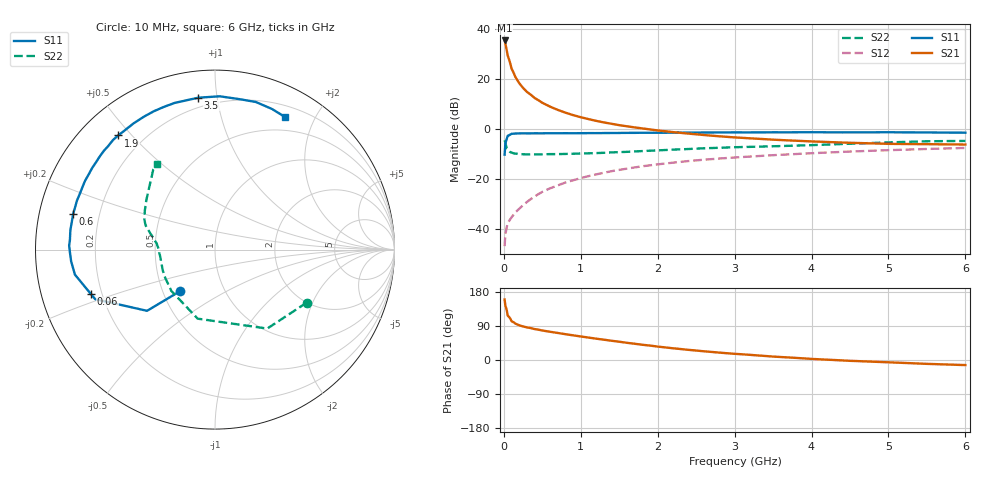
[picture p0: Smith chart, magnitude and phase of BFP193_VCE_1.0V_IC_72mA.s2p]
! Infineon Technologies  Discrete & RF Semiconductors
! BFP193
! VCE =  1.0 V,  IC =  72 mA
! Common Emitter S-Parameters:  Jan 2017
# GHz  S  MA  R  50
!  f  S11  S21  S12  S22
! GHz  MAG  ANG  MAG  ANG  MAG  ANG  MAG  ANG
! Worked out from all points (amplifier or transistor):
!   77 points, 10 MHz to 6 GHz, reference 50 ohm
!   highest |S21| = 35.3 dB at 10 MHz (marker M1)
!   |S21| within 3 dB of that: start of sweep to 31.7 MHz
!   unconditionally stable (mu >= 1): start of sweep to 11.73 MHz; 187.2 MHz to end of sweep
!   at 130 MHz: K = 0.87, MSG = 28.2 dB, |S12| = -34.2 dB
!   at 2.2 GHz: K = 1.08, MAG = 4.3 dB, |S12| = -13.5 dB
!   at 6 GHz: K = 1.06, MAG = -0.8 dB, |S12| = -7.7 dB
!   S11 on the Smith chart (normalised r, x): 10 MHz: 0.61, -0.31; 60 MHz: 0.16, -0.17; 600 MHz: 0.10, +0.12; 1.9 GHz: 0.11, +0.46; 3.5 GHz: 0.14, +0.89; 6 GHz: 0.33, +1.61
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0.01  0.3038 -130.1  58.34 159.5  0.0045 72.3  0.5899 -30.1
0.02  0.5097 -138.0  50.52 143.2  0.0078 61.8  0.5276 -56.5
0.05  0.7225 -157.5  29.18 117.1  0.0129 45.7  0.3967 -104.1
0.06  0.7337 -160.2  26.45 115.3  0.0137 47.1  0.3756 -109.6
0.1  0.7929 -169.9  15.96 102.2  0.0169 51.2  0.3349 -136.6
0.15  0.8042 -175.4  10.85 96.0  0.0213 56.7  0.3188 -150.5
0.2  0.8083 -178.8  8.178 91.7  0.0252 61.0  0.3133 -158.2
0.25  0.8129 178.4  6.559 88.5  0.0297 63.0  0.3093 -162.9
0.3  0.8101 176.3  5.474 86.1  0.0344 65.3  0.3079 -166.7
0.4  0.8131 172.3  4.131 81.6  0.0443 67.0  0.3072 -171.2
0.5  0.8125 169.0  3.311 77.9  0.0548 67.7  0.3086 -174.4
0.6  0.8149 166.0  2.777 74.5  0.0645 67.9  0.3117 -176.9
0.8  0.8162 160.3  2.103 68.1  0.0842 67.6  0.3143 179.4
1.1  0.8194 151.9  1.563 59.2  0.1131 64.4  0.3235 175.3
1.5  0.8256 141.1  1.182 48.2  0.1507 58.9  0.3416 170.7
1.9  0.8337 130.3  0.971 38.1  0.186 53.2  0.3645 166.9
2.1  0.8342 125.2  0.892 33.2  0.2023 50.1  0.3764 165.2
3.1  0.8466 103.6  0.659 15.0  0.2725 35.6  0.4315 155.7
3.5  0.8514 96.3  0.606 9.0  0.2968 30.7  0.4473 150.9
4.1  0.8524 86.8  0.552 1.9  0.3296 23.0  0.4773 142.7
5.1  0.8507 73.2  0.498 -6.9  0.3778 11.0  0.54 130.7
6  0.836 62.3  0.484 -13.4  0.4143 0.8  0.5726 124.1
